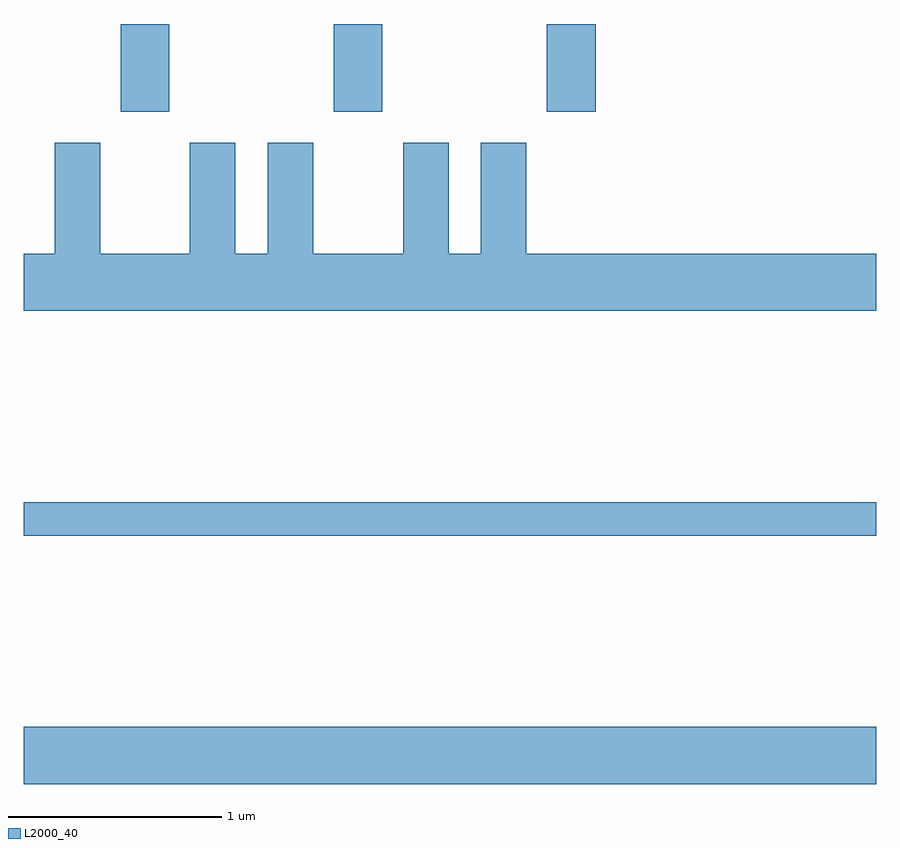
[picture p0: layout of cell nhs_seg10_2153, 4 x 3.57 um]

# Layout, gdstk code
import gdstk
lib = gdstk.Library(unit=1e-6, precision=1e-09)
def R(c, l, rs):  # rectangles x0, y0, x1, y1
    for r in rs: c.add(gdstk.rectangle(r[:2], r[2:], *l))
def A(c, l, x, y, w, h, nx, ny, dx, dy):  # array of equal rectangles
    R(c, l, [(x+i*dx, y+j*dy, x+i*dx+w, y+j*dy+h) for i in range(nx) for j in range(ny)])
def P(c, l, *ps):  # polygons
    for p in ps: c.add(gdstk.Polygon(p, *l))
L2000_40 = (2000, 40)

nhs_seg10_2153 = lib.new_cell('nhs_seg10_2153')
A(nhs_seg10_2153, L2000_40, 248.066, 2188.111, 0.228, 0.411, 3, 1, 1, 0)
R(nhs_seg10_2153, L2000_40, [(247.611,2184.956,251.611,2185.224), (247.611,2186.121,251.611,2186.279)])
P(nhs_seg10_2153, L2000_40, [(251.611,2187.444),(249.969,2187.444),(249.969,2187.964),(249.756,2187.964),(249.756,2187.444),(249.604,2187.444),(249.604,2187.964),(249.391,2187.964),(249.391,2187.444),(248.969,2187.444),(248.969,2187.964),(248.756,2187.964),(248.756,2187.444),(248.604,2187.444),(248.604,2187.964),(248.391,2187.964),(248.391,2187.444),(247.969,2187.444),(247.969,2187.964),(247.756,2187.964),(247.756,2187.444),(247.611,2187.444),(247.611,2187.176),(251.611,2187.176)])

lib.write_gds('nhs_seg10_2153.gds')
